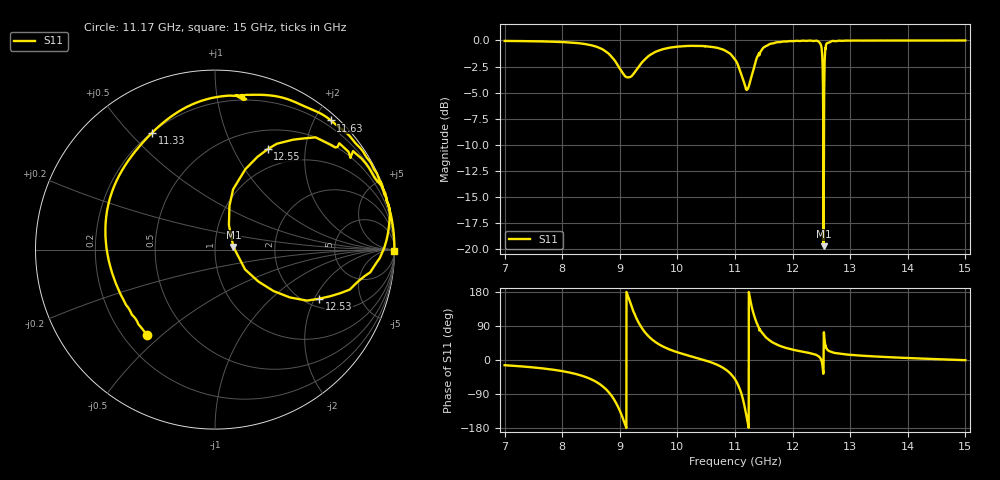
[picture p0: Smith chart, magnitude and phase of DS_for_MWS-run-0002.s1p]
! TOUCHSTONE file generated by CST DESIGN STUDIO
! Date and time: Mon Feb 10 16:57:06 2025
! Project name: C:\Work\MatlabApps\UnitCellType2OptimizationMatlab\CST\unitcell.cst
! Tree item: Tasks\Sweep1\SPara1\S-Parameters
! Header version: 2024
! Port assignment regex: !\s*Touchstone port\s*([0-9]+)\s*=\s*(CST MWS port|CST DES external port|CST DES block port)\s*(.+)\s* \(\"(.*)\"\)(\s*mode\s*([0-9]+))?.*
! Touchstone port assignment:
! Touchstone port 1 = CST DES external port 1 ("")
# GHz S MA R 50
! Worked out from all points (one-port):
!   4001 points, 7 GHz to 15 GHz, reference 50 ohm
!   lowest |S11| = -19.7 dB at 12.54 GHz (marker M1), VSWR 1.23, Z = 61.4 + j1.83 ohm
!   |S11| at or under -10 dB: 12.53364 GHz to 12.54333 GHz (9.697 MHz wide, 0.0773 % of centre)
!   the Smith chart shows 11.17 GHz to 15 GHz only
!   S11 on the Smith chart (normalised r, x): 11.17 GHz: 0.30, -0.45; 11.33 GHz: 0.20, +0.58; 11.63 GHz: 0.10, +2.24; 12.53 GHz: 2.35, -2.18; 12.55 GHz: 0.74, +1.38; 15 GHz: open
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7  0.9947 -13.7
8  0.9834 -29.3
8.596  0.9334 -58.3
8.842  0.8443 -91.4
9  0.7334 -133.6
9.15  0.666 164.4
9.348  0.7607 93.0
9.616  0.8812 47.6
10  0.9342 20.3
10.686  0.9229 -12.3
11  0.8107 -50.8
11.102  0.6969 -84.6
11.174  0.6072 -128.3
11.25  0.6178 171.3
11.33  0.7397 118.2
11.43  0.8658 79.5
11.634  0.9667 48.1
12  0.9919 27.3
12.46  0.9822 8.6
12.498  0.9374 -0.2
12.526  0.6419 -25.2
12.538  0.1036 8.2
12.55  0.6325 62.3
12.584  0.961 32.0
12.638  0.9782 23.4
13  0.9974 13.7
14  0.9989 5.3
15  0.9995 -0.5
